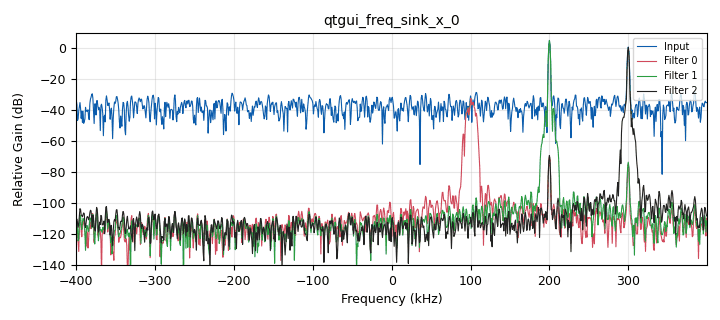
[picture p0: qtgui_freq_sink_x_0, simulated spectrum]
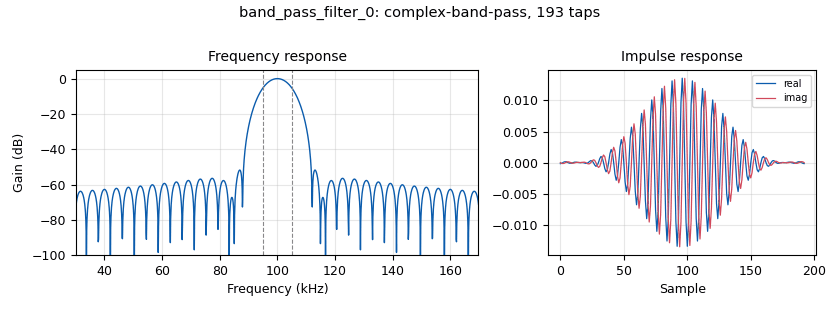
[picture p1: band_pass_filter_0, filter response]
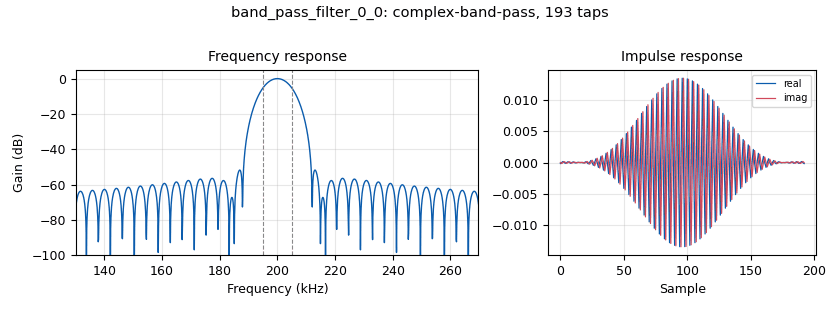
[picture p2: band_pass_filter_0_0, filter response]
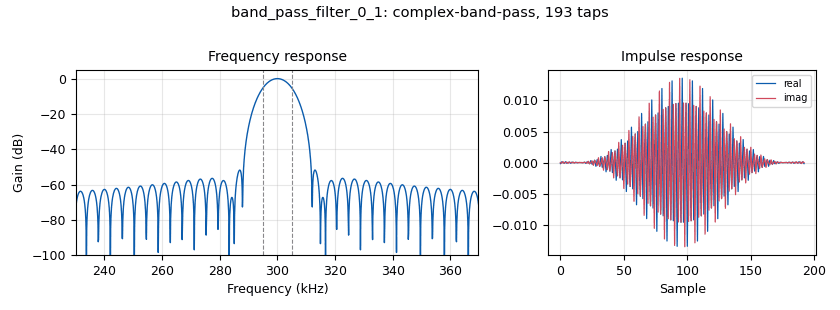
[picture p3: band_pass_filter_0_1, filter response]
options:
  parameters:
    generate_options: qt_gui
    id: Fingerprint_Positioning_2
    output_language: python
    title: Fingerprint Based Position with Channel
  states: {}

blocks:
- name: C_select
  id: variable_qtgui_chooser
  parameters:
    gui_hint: (0,0,1,1)
    label: Channel Select
    labels: '[''C0'', ''C1'', ''C2'', ''C3'', ''C4'', ''C5'']'
    num_opts: '0'
    options: '[0, 1, 2, 3, 4, 5]'
    type: int
    value: '0'
  states: {}
- name: F_train
  id: variable
  parameters:
    value: np.column_stack((f0_vals, f1_vals, f2_vals))
  states: {}
- name: F_train_indices
  id: variable
  parameters:
    value: '[1,2,3,4,5,6]'
  states: {}
- name: c0_vals
  id: variable
  parameters:
    value: '[0,1,2,3,4,5]'
  states: {}
- name: c1_vals
  id: variable
  parameters:
    value: '[5,4,3,2,1,0]'
  states: {}
- name: c2_vals
  id: variable
  parameters:
    value: '[3,2,4,0,5,1]'
  states: {}
- name: decim
  id: variable
  parameters:
    value: int(samp_rate*0.1)
  states: {}
- name: f0
  id: variable_qtgui_range
  parameters:
    gui_hint: 0,1,1,1
    label: Frequency 0
    start: '-samp_rate/2'
    step: 50e3
    stop: samp_rate/2
    value: 100e3
    widget: counter
  states: {}
- name: f0_vals
  id: variable
  parameters:
    value: np.square(c0_vals)
  states: {}
- name: f1
  id: variable_qtgui_range
  parameters:
    gui_hint: 0,2,1,1
    label: Frequency 1
    start: '-samp_rate/2'
    step: 50e3
    stop: samp_rate/2
    value: 200e3
    widget: counter
  states: {}
- name: f1_vals
  id: variable
  parameters:
    value: np.square(c1_vals)
  states: {}
- name: f2
  id: variable_qtgui_range
  parameters:
    gui_hint: 0,3,1,1
    label: Frequency 2
    start: '-samp_rate/2'
    step: 50e3
    stop: samp_rate/2
    value: 300e3
    widget: counter
  states: {}
- name: f2_vals
  id: variable
  parameters:
    value: np.square(c2_vals)
  states: {}
- name: f_trans_width
  id: variable_qtgui_range
  parameters:
    gui_hint: 3,3,1,1
    label: Filter Transition Width
    start: 5e3
    step: 5e3
    stop: 50e3
    value: 10e3
    widget: counter
  states: {}
- name: f_width
  id: variable_qtgui_range
  parameters:
    gui_hint: 2,3,1,1
    label: Filter Width
    start: 5e3
    step: 5e3
    stop: 50e3
    value: 10e3
    widget: counter
  states: {}
- name: noise_amp
  id: variable_qtgui_range
  parameters:
    gui_hint: 1,3,1,1
    label: Noise Amplitude
    start: '0'
    step: '0.1'
    stop: '4'
    value: '1'
    widget: counter
  states: {}
- name: samp_rate
  id: variable
  parameters:
    value: 0.8e6
  states: {}
- name: analog_noise_source_x_0
  id: analog_noise_source_x
  parameters:
    amp: noise_amp
    noise_type: analog.GR_GAUSSIAN
    seed: '0'
    type: complex
  states: {}
- name: analog_sig_source_x_0
  id: analog_sig_source_x
  parameters:
    amp: '1'
    freq: f0
    offset: '0'
    phase: '0'
    samp_rate: samp_rate
    type: complex
    waveform: analog.GR_COS_WAVE
  states: {}
- name: analog_sig_source_x_0_0
  id: analog_sig_source_x
  parameters:
    amp: '1'
    freq: f1
    offset: '0'
    phase: '0'
    samp_rate: samp_rate
    type: complex
    waveform: analog.GR_COS_WAVE
  states: {}
- name: analog_sig_source_x_0_1
  id: analog_sig_source_x
  parameters:
    amp: '1'
    freq: f2
    offset: '0'
    phase: '0'
    samp_rate: samp_rate
    type: complex
    waveform: analog.GR_COS_WAVE
  states: {}
- name: band_pass_filter_0
  id: band_pass_filter
  parameters:
    decim: '1'
    gain: '1'
    high_cutoff_freq: f0+(f_width/2)
    low_cutoff_freq: f0-(f_width/2)
    samp_rate: samp_rate
    type: fir_filter_ccc
    width: f_trans_width
    win: window.WIN_HAMMING
  states: {}
- name: band_pass_filter_0_0
  id: band_pass_filter
  parameters:
    decim: '1'
    gain: '1'
    high_cutoff_freq: f1 + (f_width/2)
    low_cutoff_freq: f1 - (f_width/2)
    samp_rate: samp_rate
    type: fir_filter_ccc
    width: f_trans_width
    win: window.WIN_HAMMING
  states: {}
- name: band_pass_filter_0_1
  id: band_pass_filter
  parameters:
    decim: '1'
    gain: '1'
    high_cutoff_freq: f2 + (f_width/2)
    low_cutoff_freq: f2 - (f_width/2)
    samp_rate: samp_rate
    type: fir_filter_ccc
    width: f_trans_width
    win: window.WIN_HAMMING
  states: {}
- name: blocks_add_xx_0
  id: blocks_add_xx
  parameters:
    num_inputs: '4'
    type: complex
  states: {}
- name: blocks_complex_to_mag_squared_0
  id: blocks_complex_to_mag_squared
  parameters: {}
  states: {}
- name: blocks_complex_to_mag_squared_0_0
  id: blocks_complex_to_mag_squared
  parameters: {}
  states: {}
- name: blocks_complex_to_mag_squared_0_1
  id: blocks_complex_to_mag_squared
  parameters: {}
  states: {}
- name: blocks_keep_one_in_n_0
  id: blocks_keep_one_in_n
  parameters:
    n: decim
    type: float
  states: {}
- name: blocks_keep_one_in_n_0_0
  id: blocks_keep_one_in_n
  parameters:
    n: decim
    type: float
  states: {}
- name: blocks_keep_one_in_n_0_1
  id: blocks_keep_one_in_n
  parameters:
    n: decim
    type: float
  states: {}
- name: blocks_moving_average_xx_0
  id: blocks_moving_average_xx
  parameters:
    length: '1000'
    max_iter: '4000'
    scale: 1/1000
    type: float
  states: {}
- name: blocks_moving_average_xx_0_0
  id: blocks_moving_average_xx
  parameters:
    length: '1000'
    max_iter: '4000'
    scale: 1/1000
    type: float
  states: {}
- name: blocks_moving_average_xx_0_1
  id: blocks_moving_average_xx
  parameters:
    length: '1000'
    max_iter: '4000'
    scale: 1/1000
    type: float
  states: {}
- name: blocks_multiply_const_vxx_0
  id: blocks_multiply_const_vxx
  parameters:
    const: c0_vals[C_select]
    type: complex
  states: {}
- name: blocks_multiply_const_vxx_0_0
  id: blocks_multiply_const_vxx
  parameters:
    const: c1_vals[C_select]
    type: complex
  states: {}
- name: blocks_multiply_const_vxx_0_1
  id: blocks_multiply_const_vxx
  parameters:
    const: c2_vals[C_select]
    type: complex
  states: {}
- name: blocks_throttle2_0
  id: blocks_throttle2
  parameters:
    samples_per_second: samp_rate
    type: complex
  states: {}
- name: epy_block_0
  id: epy_block
  parameters:
    F_Train: F_train
    F_ind: F_train_indices
    _source_code: |-
      """
      Embedded Python Blocks:

      Each time this file is saved, GRC will instantiate the first class it finds
      to get ports and parameters of your block. The arguments to __init__  will
      be the parameters. All of them are required to have default values!
      """

      import numpy as np
      from gnuradio import gr


      class blk(gr.sync_block):  # other base classes are basic_block, decim_block, interp_block
          """Embedded Python Block - min distance fingerprinting"""

          def __init__(self, F_Train=([[1, 2, 3],[3, 5, 6]]), F_ind=([1,2])):  # default args
              """arguments to this function show up as parameters in GRC"""
              gr.sync_block.__init__(
                  self,
                  name='Map-Based Prediction',   # will show up in GRC
                  in_sig=[np.float32,np.float32,np.float32],
                  out_sig=[np.float32]
              )
              # if an attribute with the same name as a parameter is found,
              # Store the matrix as a NumPy array for convenience
              self.F_Train = np.array(F_Train)
              self.F_ind = np.array(F_ind)

              # Optional: validate it's actually 2D
              if self.F_Train.ndim != 2:
                  raise ValueError("Input parameter must be a 2D matrix")

              # Store shape info (often useful later)
              self.num_rows, self.num_cols = self.F_Train.shape



          def work(self, input_items, output_items):
              """Fingerprint: compare with F_Train and get argmin distance"""
              n_items = len(input_items[0])

              for i in range(n_items):
                  # Current 3D input point (i.e., F_test)
                  f0 = input_items[0][i]
                  f1 = input_items[1][i]
                  f2 = input_items[2][i]

                  d_vals = [0] * self.num_rows

                  # Loop through each row of the stored 2D matrix
                  for j in range(self.num_rows):
                      m0 = self.F_Train[j, 0]
                      m1 = self.F_Train[j, 1]
                      m2 = self.F_Train[j, 2]

                      # Euclidean distance 
                      # (ignoring the sqrt since it's irrelevant for dmin calc)
                      d_vals[j] = ((f0-m0)**2 + (f1 - m1)**2 + (f2 - m2)**2) #** 0.5

                  # Output the index of the closest row
                  output_items[0][i] = self.F_ind[np.argmin(d_vals)]

              return n_items
  states: {}
- name: import_0
  id: import
  parameters:
    imports: import numpy as np
  states: {}
- name: qtgui_freq_sink_x_0
  id: qtgui_freq_sink_x
  parameters:
    bw: samp_rate
    fc: '0'
    fftsize: '1024'
    gui_hint: 4,0,3,4
    label1: Input
    label2: Filter 0
    label3: Filter 1
    label4: Filter 2
    nconnections: '4'
    type: complex
  states: {}
- name: qtgui_number_sink_0
  id: qtgui_number_sink
  parameters:
    graph_type: qtgui.NUM_GRAPH_HORIZ
    gui_hint: 1,1,3,2
    label1: Value 2
    label2: Value 1
    label3: Value 0
    max: '40'
    name: '"Input Values"'
    nconnections: '3'
    type: float
  states: {}
- name: qtgui_number_sink_1
  id: qtgui_number_sink
  parameters:
    graph_type: qtgui.NUM_GRAPH_VERT
    gui_hint: (1,0,3,1)
    max: len(f1_vals)
    min: '-0.5'
    name: '"ID Selected"'
    type: float
  states: {}
- name: virtual_sink_0
  id: virtual_sink
  parameters:
    stream_id: rx_sig
  states: {}
- name: virtual_source_1
  id: virtual_source
  parameters:
    stream_id: rx_sig
  states: {}

connections:
- [analog_noise_source_x_0, '0', blocks_add_xx_0, '3']
- [analog_sig_source_x_0, '0', blocks_multiply_const_vxx_0, '0']
- [analog_sig_source_x_0_0, '0', blocks_multiply_const_vxx_0_0, '0']
- [analog_sig_source_x_0_1, '0', blocks_multiply_const_vxx_0_1, '0']
- [band_pass_filter_0, '0', blocks_complex_to_mag_squared_0, '0']
- [band_pass_filter_0, '0', qtgui_freq_sink_x_0, '1']
- [band_pass_filter_0_0, '0', blocks_complex_to_mag_squared_0_0, '0']
- [band_pass_filter_0_0, '0', qtgui_freq_sink_x_0, '2']
- [band_pass_filter_0_1, '0', blocks_complex_to_mag_squared_0_1, '0']
- [band_pass_filter_0_1, '0', qtgui_freq_sink_x_0, '3']
- [blocks_add_xx_0, '0', blocks_throttle2_0, '0']
- [blocks_complex_to_mag_squared_0, '0', blocks_moving_average_xx_0, '0']
- [blocks_complex_to_mag_squared_0_0, '0', blocks_moving_average_xx_0_0, '0']
- [blocks_complex_to_mag_squared_0_1, '0', blocks_moving_average_xx_0_1, '0']
- [blocks_keep_one_in_n_0, '0', epy_block_0, '0']
- [blocks_keep_one_in_n_0, '0', qtgui_number_sink_0, '2']
- [blocks_keep_one_in_n_0_0, '0', epy_block_0, '1']
- [blocks_keep_one_in_n_0_0, '0', qtgui_number_sink_0, '1']
- [blocks_keep_one_in_n_0_1, '0', epy_block_0, '2']
- [blocks_keep_one_in_n_0_1, '0', qtgui_number_sink_0, '0']
- [blocks_moving_average_xx_0, '0', blocks_keep_one_in_n_0, '0']
- [blocks_moving_average_xx_0_0, '0', blocks_keep_one_in_n_0_0, '0']
- [blocks_moving_average_xx_0_1, '0', blocks_keep_one_in_n_0_1, '0']
- [blocks_multiply_const_vxx_0, '0', blocks_add_xx_0, '0']
- [blocks_multiply_const_vxx_0_0, '0', blocks_add_xx_0, '1']
- [blocks_multiply_const_vxx_0_1, '0', blocks_add_xx_0, '2']
- [blocks_throttle2_0, '0', virtual_sink_0, '0']
- [epy_block_0, '0', qtgui_number_sink_1, '0']
- [virtual_source_1, '0', band_pass_filter_0, '0']
- [virtual_source_1, '0', band_pass_filter_0_0, '0']
- [virtual_source_1, '0', band_pass_filter_0_1, '0']
- [virtual_source_1, '0', qtgui_freq_sink_x_0, '0']

metadata:
  file_format: 1
  grc_version: 3.10.12.0
